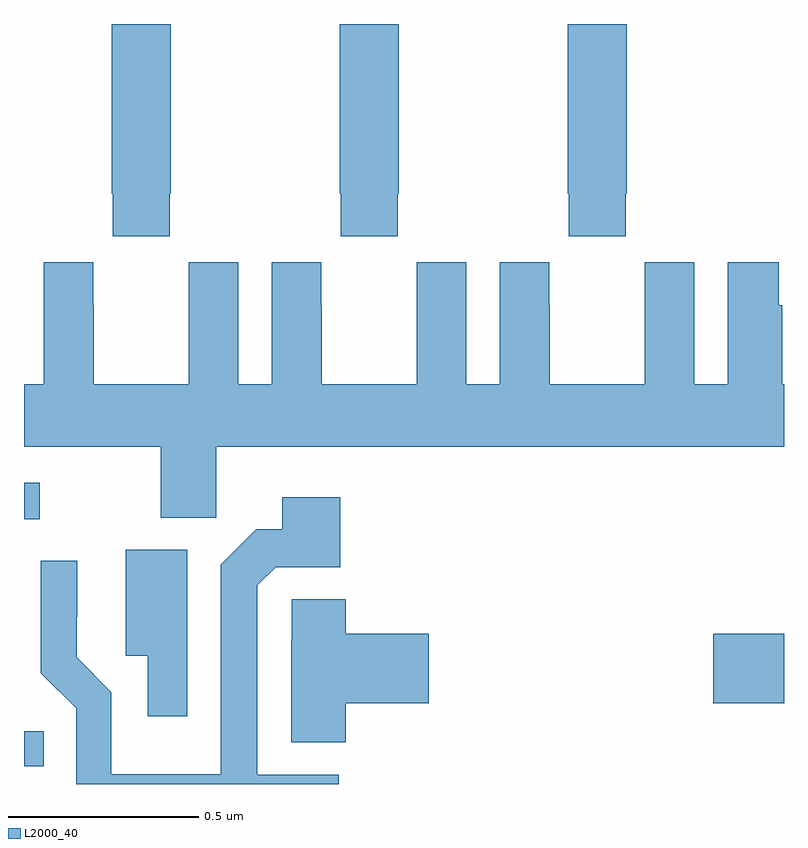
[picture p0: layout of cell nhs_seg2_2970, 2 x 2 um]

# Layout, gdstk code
import gdstk
lib = gdstk.Library(unit=1e-6, precision=1e-09)
def R(c, l, rs):  # rectangles x0, y0, x1, y1
    for r in rs: c.add(gdstk.rectangle(r[:2], r[2:], *l))
def P(c, l, *ps):  # polygons
    for p in ps: c.add(gdstk.Polygon(p, *l))
L2000_40 = (2000, 40)

nhs_seg2_2970 = lib.new_cell('nhs_seg2_2970')
R(nhs_seg2_2970, L2000_40, [(148,594.847,148.052,594.939), (149.814,595.013,150,595.196), (148,595.497,148.042,595.593)])
P(nhs_seg2_2970, L2000_40, [(148.983,596.353),(148.986,596.353),(148.986,596.8),(148.831,596.8),(148.831,596.353),(148.833,596.353),(148.833,596.241),(148.983,596.241)],
  [(149.583,596.353),(149.586,596.353),(149.586,596.8),(149.431,596.8),(149.431,596.353),(149.433,596.353),(149.433,596.241),(149.583,596.241)],
  [(148.383,596.353),(148.386,596.353),(148.386,596.8),(148.231,596.8),(148.231,596.353),(148.233,596.353),(148.233,596.241),(148.383,596.241)],
  [(148.506,595.688),(150,595.688),(150,595.852),(149.996,595.852),(149.996,596.06),(149.986,596.06),(149.986,596.173),(149.852,596.173),(149.852,595.852),(149.764,595.852),(149.764,596.173),(149.634,596.173),(149.634,596.06),(149.633,596.06),(149.633,595.852),(149.383,595.852),(149.383,596.06),(149.382,596.06),(149.382,596.173),(149.252,596.173),(149.252,595.852),(149.164,595.852),(149.164,596.173),(149.034,596.173),(149.034,596.06),(149.033,596.06),(149.033,595.852),(148.783,595.852),(148.783,596.06),(148.782,596.06),(148.782,596.173),(148.652,596.173),(148.652,595.852),(148.564,595.852),(148.564,596.173),(148.434,596.173),(148.434,596.06),(148.433,596.06),(148.433,595.852),(148.183,595.852),(148.183,596.06),(148.182,596.06),(148.182,596.173),(148.052,596.173),(148.052,595.852),(148,595.852),(148,595.688),(148.36,595.688),(148.36,595.501),(148.506,595.501)],
  [(148.828,594.825),(148.614,594.825),(148.614,595.323),(148.662,595.371),(148.832,595.371),(148.832,595.555),(148.679,595.555),(148.679,595.47),(148.611,595.47),(148.518,595.377),(148.518,594.826),(148.23,594.826),(148.23,595.042),(148.139,595.134),(148.139,595.24),(148.14,595.24),(148.14,595.387),(148.044,595.387),(148.044,595.092),(148.137,594.999),(148.137,594.8),(148.828,594.8)],
  [(148.429,595.416),(148.268,595.416),(148.268,595.137),(148.325,595.137),(148.325,594.978),(148.429,594.978)],
  [(148.847,595.013),(149.065,595.013),(149.065,595.196),(148.847,595.196),(148.847,595.286),(148.704,595.286),(148.704,595.178),(148.703,595.178),(148.703,594.91),(148.847,594.91)])

lib.write_gds('nhs_seg2_2970.gds')
